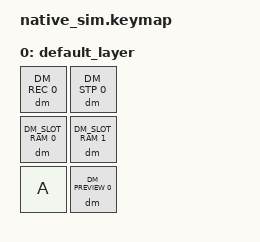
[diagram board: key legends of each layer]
#include <dt-bindings/zmk/keys.h>
#include <behaviors.dtsi>
#include <dt-bindings/zmk/kscan_mock.h>
#include <behaviors/dynamic_macro.dtsi>
#include <dt-bindings/zmk/dynamic_macros.h>

/*
 * Preview event coverage: PREVIEW_PROMPT on mode entry, then PREVIEW_READY (with
 * the slot index) once a slot is chosen — the signal a widget waits on before
 * calling dm_get_preview_string(). Records A into slot 0, enters preview mode,
 * then selects slot 0.
 *
 * PERSIST=n forces NVS_SLOTS=0, so DM_SLOT_RAM 0 is machine slot 0. FEEDBACK_OFF
 * so the only stream is the dm_event notifications.
 *
 * Key layout (3 rows x 2 cols):
 *   (0,0)=REC        (0,1)=STP
 *   (1,0)=RAM slot 0 (1,1)=RAM slot 1
 *   (2,0)=A          (2,1)=PREVIEW
 */

&kscan {
    rows = <3>;
    columns = <2>;
    exit-after;
    events = <
        /* REC A -> assign slot 0 */
        ZMK_MOCK_PRESS(0,0,10)
        ZMK_MOCK_RELEASE(0,0,10)
        ZMK_MOCK_PRESS(2,0,10)
        ZMK_MOCK_RELEASE(2,0,10)
        ZMK_MOCK_PRESS(0,1,10)
        ZMK_MOCK_RELEASE(0,1,10)
        ZMK_MOCK_PRESS(1,0,10)
        ZMK_MOCK_RELEASE(1,0,10)
        /* PREVIEW -> select slot 0 */
        ZMK_MOCK_PRESS(2,1,10)
        ZMK_MOCK_RELEASE(2,1,10)
        ZMK_MOCK_PRESS(1,0,10)
        ZMK_MOCK_RELEASE(1,0,10)
    >;
};

/ {
    keymap {
        compatible = "zmk,keymap";
        default_layer {
            bindings = <
                &dm DM_REC 0      &dm DM_STP 0
                &dm DM_SLOT_RAM 0 &dm DM_SLOT_RAM 1
                &kp A             &dm DM_PREVIEW 0
            >;
        };
    };
};
